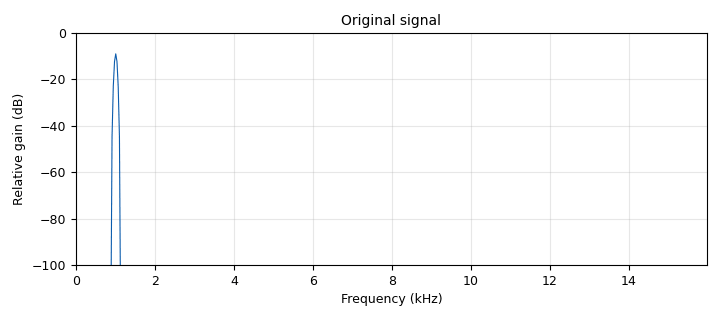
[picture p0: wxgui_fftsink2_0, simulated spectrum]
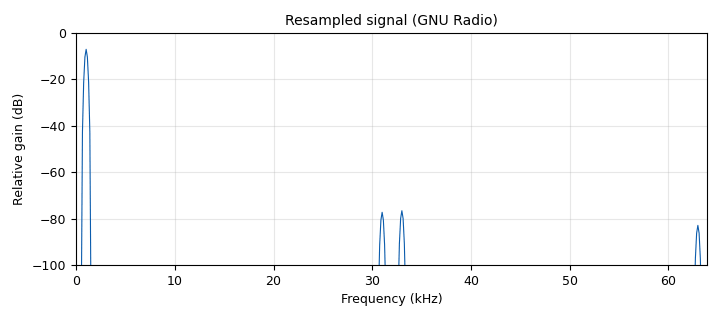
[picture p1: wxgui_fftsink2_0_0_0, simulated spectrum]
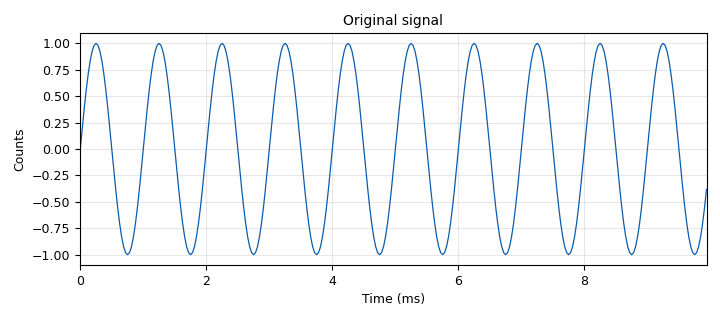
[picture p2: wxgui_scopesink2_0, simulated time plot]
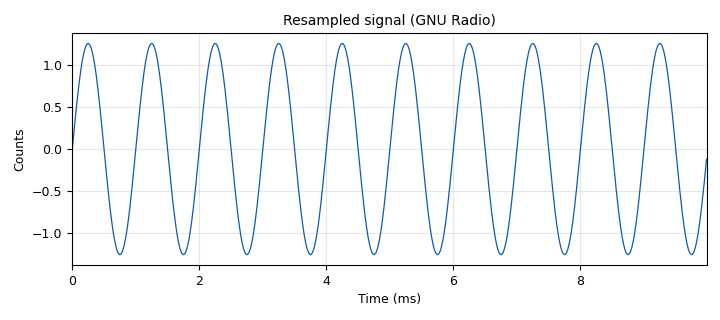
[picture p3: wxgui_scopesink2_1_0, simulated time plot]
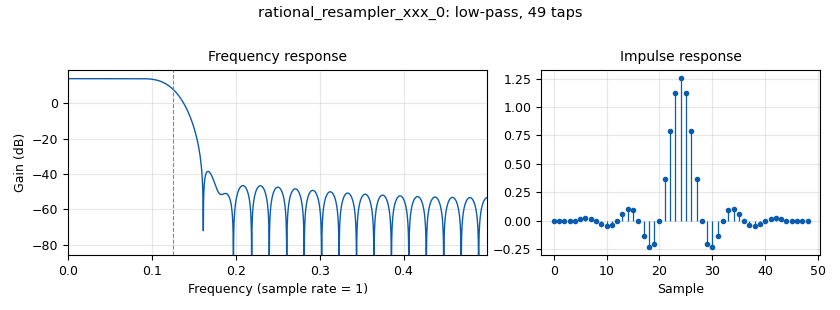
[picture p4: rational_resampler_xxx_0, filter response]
<?xml version='1.0' encoding='utf-8'?>
<?grc format='1' created='3.7.8'?>
<flow_graph>
<block>
<key>options</key>
<param><key>id</key><value>top_block</value></param>
<param><key>category</key><value>Custom</value></param>
<param><key>generate_options</key><value>wx_gui</value></param>
</block>
<block>
<key>variable</key>
<param><key>id</key><value>decimation</value></param>
<param><key>value</key><value>1</value></param>
</block>
<block>
<key>variable_slider</key>
<param><key>id</key><value>frequency</value></param>
<param><key>converver</key><value>float_converter</value></param>
<param><key>value</key><value>1e3</value></param>
<param><key>grid_pos</key><value>2,1,1,1</value></param>
<param><key>label</key><value></value></param>
<param><key>max</key><value>samp_rate/2</value></param>
<param><key>min</key><value>0</value></param>
<param><key>num_steps</key><value>100</value></param>
<param><key>style</key><value>wx.SL_HORIZONTAL</value></param>
</block>
<block>
<key>variable</key>
<param><key>id</key><value>interpolation</value></param>
<param><key>value</key><value>4</value></param>
</block>
<block>
<key>variable</key>
<param><key>id</key><value>samp_rate</value></param>
<param><key>value</key><value>32000</value></param>
</block>
<block>
<key>analog_sig_source_x</key>
<param><key>id</key><value>analog_sig_source_x_0</value></param>
<param><key>amp</key><value>1</value></param>
<param><key>freq</key><value>frequency</value></param>
<param><key>offset</key><value>0</value></param>
<param><key>type</key><value>float</value></param>
<param><key>samp_rate</key><value>samp_rate</value></param>
<param><key>waveform</key><value>analog.GR_SIN_WAVE</value></param>
</block>
<block>
<key>blocks_throttle</key>
<param><key>id</key><value>blocks_throttle_0</value></param>
<param><key>samples_per_second</key><value>samp_rate</value></param>
<param><key>type</key><value>float</value></param>
</block>
<block>
<key>ha5kfu_execproc_xx</key>
<param><key>id</key><value>ha5kfu_execproc_xx_0</value></param>
<param><key>commandline</key><value>"csdr rational_resampler_ff %d %d 0.05"%(interpolation,decimation)</value></param>
<param><key>type</key><value>ff</value></param>
</block>
<block>
<key>notebook</key>
<param><key>id</key><value>nb0</value></param>
<param><key>grid_pos</key><value>1,1,1,1</value></param>
<param><key>labels</key><value>['scope', 'fft']</value></param>
<param><key>style</key><value>wx.NB_TOP</value></param>
</block>
<block>
<key>notebook</key>
<param><key>id</key><value>nb1</value></param>
<param><key>grid_pos</key><value>1,2,1,1</value></param>
<param><key>labels</key><value>['scope', 'fft']</value></param>
<param><key>style</key><value>wx.NB_TOP</value></param>
</block>
<block>
<key>notebook</key>
<param><key>id</key><value>nb2</value></param>
<param><key>grid_pos</key><value>2,2,1,1</value></param>
<param><key>labels</key><value>['scope', 'fft']</value></param>
<param><key>style</key><value>wx.NB_TOP</value></param>
</block>
<block>
<key>rational_resampler_xxx</key>
<param><key>id</key><value>rational_resampler_xxx_0</value></param>
<param><key>decim</key><value>decimation</value></param>
<param><key>interp</key><value>interpolation</value></param>
<param><key>taps</key><value>firdes.low_pass(5,1,0.5*min(1./interpolation,1./decimation),0.05)  </value></param>
<param><key>type</key><value>fff</value></param>
</block>
<block>
<key>wxgui_fftsink2</key>
<param><key>id</key><value>wxgui_fftsink2_0</value></param>
<param><key>avg_alpha</key><value>0</value></param>
<param><key>average</key><value>False</value></param>
<param><key>baseband_freq</key><value>0</value></param>
<param><key>fft_size</key><value>1024</value></param>
<param><key>freqvar</key><value>None</value></param>
<param><key>notebook</key><value>nb0,1</value></param>
<param><key>peak_hold</key><value>False</value></param>
<param><key>ref_level</key><value>0</value></param>
<param><key>ref_scale</key><value>2.0</value></param>
<param><key>fft_rate</key><value>15</value></param>
<param><key>samp_rate</key><value>samp_rate</value></param>
<param><key>title</key><value>Original signal</value></param>
<param><key>type</key><value>float</value></param>
<param><key>win</key><value>None</value></param>
<param><key>y_divs</key><value>10</value></param>
<param><key>y_per_div</key><value>10</value></param>
</block>
<block>
<key>wxgui_fftsink2</key>
<param><key>id</key><value>wxgui_fftsink2_0_0</value></param>
<param><key>avg_alpha</key><value>0</value></param>
<param><key>average</key><value>False</value></param>
<param><key>baseband_freq</key><value>0</value></param>
<param><key>fft_size</key><value>1024</value></param>
<param><key>freqvar</key><value>None</value></param>
<param><key>notebook</key><value>nb1,1</value></param>
<param><key>peak_hold</key><value>False</value></param>
<param><key>ref_level</key><value>0</value></param>
<param><key>ref_scale</key><value>2.0</value></param>
<param><key>fft_rate</key><value>15</value></param>
<param><key>samp_rate</key><value>samp_rate*(interpolation/float(decimation))</value></param>
<param><key>title</key><value>Resampled signal (csdr)</value></param>
<param><key>type</key><value>float</value></param>
<param><key>win</key><value>None</value></param>
<param><key>y_divs</key><value>10</value></param>
<param><key>y_per_div</key><value>10</value></param>
</block>
<block>
<key>wxgui_fftsink2</key>
<param><key>id</key><value>wxgui_fftsink2_0_0_0</value></param>
<param><key>avg_alpha</key><value>0</value></param>
<param><key>average</key><value>False</value></param>
<param><key>baseband_freq</key><value>0</value></param>
<param><key>fft_size</key><value>1024</value></param>
<param><key>freqvar</key><value>None</value></param>
<param><key>notebook</key><value>nb2,1</value></param>
<param><key>peak_hold</key><value>False</value></param>
<param><key>ref_level</key><value>0</value></param>
<param><key>ref_scale</key><value>2.0</value></param>
<param><key>fft_rate</key><value>15</value></param>
<param><key>samp_rate</key><value>samp_rate*(interpolation/float(decimation))</value></param>
<param><key>title</key><value>Resampled signal (GNU Radio)</value></param>
<param><key>type</key><value>float</value></param>
<param><key>win</key><value>None</value></param>
<param><key>y_divs</key><value>10</value></param>
<param><key>y_per_div</key><value>10</value></param>
</block>
<block>
<key>wxgui_scopesink2</key>
<param><key>id</key><value>wxgui_scopesink2_0</value></param>
<param><key>ac_couple</key><value>False</value></param>
<param><key>notebook</key><value>nb0,0</value></param>
<param><key>num_inputs</key><value>1</value></param>
<param><key>samp_rate</key><value>samp_rate</value></param>
<param><key>t_scale</key><value>0</value></param>
<param><key>title</key><value>Original signal</value></param>
<param><key>trig_mode</key><value>wxgui.TRIG_MODE_AUTO</value></param>
<param><key>type</key><value>float</value></param>
<param><key>v_offset</key><value>0</value></param>
<param><key>v_scale</key><value>0</value></param>
<param><key>xy_mode</key><value>False</value></param>
<param><key>y_axis_label</key><value>Counts</value></param>
</block>
<block>
<key>wxgui_scopesink2</key>
<param><key>id</key><value>wxgui_scopesink2_1</value></param>
<param><key>ac_couple</key><value>False</value></param>
<param><key>notebook</key><value>nb1,0</value></param>
<param><key>num_inputs</key><value>1</value></param>
<param><key>samp_rate</key><value>samp_rate*(interpolation/float(decimation))</value></param>
<param><key>t_scale</key><value>0</value></param>
<param><key>title</key><value>Resampled signal (csdr)</value></param>
<param><key>trig_mode</key><value>wxgui.TRIG_MODE_AUTO</value></param>
<param><key>type</key><value>float</value></param>
<param><key>v_offset</key><value>0</value></param>
<param><key>v_scale</key><value>0</value></param>
<param><key>xy_mode</key><value>False</value></param>
<param><key>y_axis_label</key><value>Counts</value></param>
</block>
<block>
<key>wxgui_scopesink2</key>
<param><key>id</key><value>wxgui_scopesink2_1_0</value></param>
<param><key>ac_couple</key><value>False</value></param>
<param><key>notebook</key><value>nb2,0</value></param>
<param><key>num_inputs</key><value>1</value></param>
<param><key>samp_rate</key><value>samp_rate*(interpolation/float(decimation))</value></param>
<param><key>t_scale</key><value>0</value></param>
<param><key>title</key><value>Resampled signal (GNU Radio)</value></param>
<param><key>trig_mode</key><value>wxgui.TRIG_MODE_AUTO</value></param>
<param><key>type</key><value>float</value></param>
<param><key>v_offset</key><value>0</value></param>
<param><key>v_scale</key><value>0</value></param>
<param><key>xy_mode</key><value>False</value></param>
<param><key>y_axis_label</key><value>Counts</value></param>
</block>
<connection><source_block_id>analog_sig_source_x_0</source_block_id><sink_block_id>blocks_throttle_0</sink_block_id><source_key>0</source_key><sink_key>0</sink_key></connection>
<connection><source_block_id>blocks_throttle_0</source_block_id><sink_block_id>ha5kfu_execproc_xx_0</sink_block_id><source_key>0</source_key><sink_key>0</sink_key></connection>
<connection><source_block_id>blocks_throttle_0</source_block_id><sink_block_id>rational_resampler_xxx_0</sink_block_id><source_key>0</source_key><sink_key>0</sink_key></connection>
<connection><source_block_id>blocks_throttle_0</source_block_id><sink_block_id>wxgui_fftsink2_0</sink_block_id><source_key>0</source_key><sink_key>0</sink_key></connection>
<connection><source_block_id>blocks_throttle_0</source_block_id><sink_block_id>wxgui_scopesink2_0</sink_block_id><source_key>0</source_key><sink_key>0</sink_key></connection>
<connection><source_block_id>ha5kfu_execproc_xx_0</source_block_id><sink_block_id>wxgui_fftsink2_0_0</sink_block_id><source_key>0</source_key><sink_key>0</sink_key></connection>
<connection><source_block_id>ha5kfu_execproc_xx_0</source_block_id><sink_block_id>wxgui_scopesink2_1</sink_block_id><source_key>0</source_key><sink_key>0</sink_key></connection>
<connection><source_block_id>rational_resampler_xxx_0</source_block_id><sink_block_id>wxgui_fftsink2_0_0_0</sink_block_id><source_key>0</source_key><sink_key>0</sink_key></connection>
<connection><source_block_id>rational_resampler_xxx_0</source_block_id><sink_block_id>wxgui_scopesink2_1_0</sink_block_id><source_key>0</source_key><sink_key>0</sink_key></connection>
</flow_graph>
